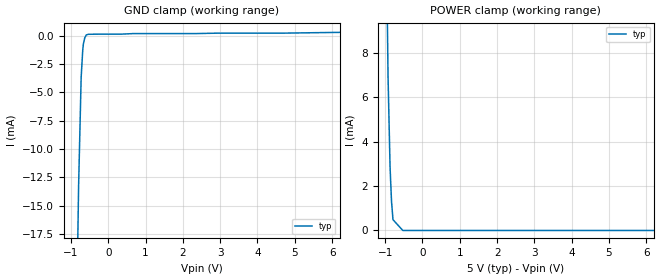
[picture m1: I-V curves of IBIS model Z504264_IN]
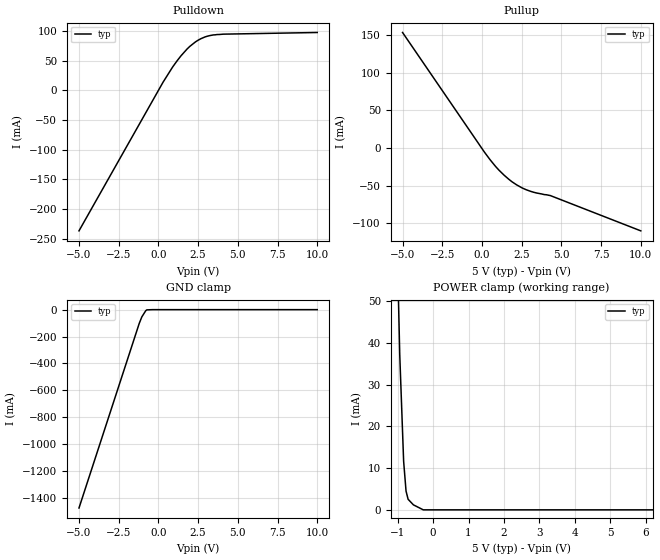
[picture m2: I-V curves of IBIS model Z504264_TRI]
| YOU ARE ONLY AUTHORIZED TO USE THIS SOFTWARE
| ACCORDING TO LICENSOR'S LICENSE RESTRICTIONS.
[IBIS Ver] 3.1
[File Name] mc74hc574adw.ibs
[File Rev] 2.0
[Source] Measured and created by ICX Technology
[Date] Friday 7/14/00 9:08:10 AM
[Copyright]
| (C) COPYRIGHT 1993-2000
| MENTOR GRAPHICS CORPORATION
| ICX STANDARD LIBRARY, ICX PROJECT MODELING,
| ICX CUSTOM MODELING, ICX VENDOR MODEL
| ALL RIGHTS RESERVED.
| THE FOLLOWING ARE TRADEMARKS OR SERVICE MARKS OF
| MENTOR GRAPHICS CORPORATION:ICX (R), ICX STANDARD
| LIBRARY(R), ICX PROJECT MODELING(R), ICX CUSTOM
| MODELING(R), qualityIBIS(TM), MODELVIEWER(TM),
| AND MODELEDITOR(TM)
| ALL COPIES OF SOFTWARE, INCLUDING BUT NOT LIMITED TO
| ANY MODIFICATIONS, ENHANCEMENTS OR DERIVATIVE WORKS,
| MUST CONTAIN ALL MENTOR GRAPHICS CORPORATION'S
| NOTICES AND LEGENDS, INCLUDING THOSE EMBEDDED IN
| SOFTWARE AND THOSE AFFIXED TO SOFTWARE MEDIUM
| AND CONTAINER, AS RECEIVED FROM MENTOR GRAPHICS
| CORPORATION.
|  ZAP Model Builder 2.7
[Component] MC74HC574ADW
[Manufacturer] OnSemiconductor
[Package]
| variable   typ   min   max
R_pkg  .178ohms NA NA
L_pkg  4.43nH NA NA
C_pkg  .62pF NA NA
[Pin] signal_name  model_name  R_pin  L_pin C_pin
1 _EN Z504264_IN .186 5.37n .68p
2 D0 Z504264_IN .182 4.89n .65p
3 D1 Z504264_IN .178 4.42n .62p
4 D2 Z504264_IN .174 3.96n .59p
5 D3 Z504264_IN .17 3.51n .56p
6 D4 Z504264_IN .17 3.51n .56p
7 D5 Z504264_IN .174 3.96n .59p
8 D6 Z504264_IN .178 4.42n .62p
9 D7 Z504264_IN .182 4.89n .65p
10 GROUND GND .186 5.37n .68p
11 CLK Z504264_IN .186 5.37n .68p
12 Q7 Z504264_TRI .182 4.89n .65p
13 Q6 Z504264_TRI .178 4.42n .62p
14 Q5 Z504264_TRI .174 3.96n .59p
15 Q4 Z504264_TRI .17 3.51n .56p
16 Q3 Z504264_TRI .17 3.51n .56p
17 Q2 Z504264_TRI .174 3.96n .59p
18 Q1 Z504264_TRI .178 4.42n .62p
19 Q0 Z504264_TRI .182 4.89n .65p
20 VCC POWER .186 5.37n .68p
| Models and submodels in the file (2): Z504264_IN (Input), Z504264_TRI (3-state)
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| (C) COPYRIGHT 1993-2000
| MENTOR GRAPHICS CORPORATION
| ICX STANDARD LIBRARY, ICX PROJECT MODELING,
| ICX CUSTOM MODELING, ICX VENDOR MODEL
| ALL RIGHTS RESERVED.
| THE FOLLOWING ARE TRADEMARKS OR SERVICE MARKS OF
| MENTOR GRAPHICS CORPORATION:ICX (R), ICX STANDARD
| LIBRARY(R), ICX PROJECT MODELING(R), ICX CUSTOM
| MODELING(R), qualityIBIS(TM), MODELVIEWER(TM),
| AND MODELEDITOR(TM)
| ALL COPIES OF SOFTWARE, INCLUDING BUT NOT LIMITED TO
| ANY MODIFICATIONS, ENHANCEMENTS OR DERIVATIVE WORKS,
| MUST CONTAIN ALL MENTOR GRAPHICS CORPORATION'S
| NOTICES AND LEGENDS, INCLUDING THOSE EMBEDDED IN
| SOFTWARE AND THOSE AFFIXED TO SOFTWARE MEDIUM
| AND CONTAINER, AS RECEIVED FROM MENTOR GRAPHICS
| CORPORATION.
| Model Application Version 1.89 2/18/99.
[Model] Z504264_IN
Model_type Input
Vinl = 1.000V
Vinh = 3.500V
C_comp 4.000pF NA NA
| variable typ   min   max
[Voltage Range] 5.000V NA NA
[GND Clamp Reference] 0.000V NA NA
[POWER Clamp Reference] 5.000V NA NA
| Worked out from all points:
|   GND clamp passes 1 mA (typ) near -0.68 V on its own axis
|   POWER clamp passes 1 mA (typ) near -0.82 V on its own axis
[GND Clamp]
-5V       -1.488A    NA         NA
-1.072V   -72.46mA   NA         NA
-795.6mV  -13.25mA   NA         NA
-727.5mV  -3.697mA   NA         NA
-685.2mV  -1.267mA   NA         NA
-666.1mV  -685.7uA   NA         NA
-627.7mV  -155.4uA   NA         NA
-590.7mV  70.68uA    NA         NA
-532.2mV  133uA      NA         NA
684.9mV   195.2uA    NA         NA
4.658V    231.4uA    NA         NA
10V       477.2uA    NA         NA
[POWER Clamp]
-5V       1.093A     NA         NA
-1.162V   48.76mA    NA         NA
-1.03V    21.76mA    NA         NA
-923mV    6.922mA    NA         NA
-869mV    2.854mA    NA         NA
-830mV    1.318mA    NA         NA
-791mV    488.3uA    NA         NA
-527.3mV  0A         NA         NA
10V       0A         NA         NA
| (C) COPYRIGHT 1993-2000
| MENTOR GRAPHICS CORPORATION
| ICX STANDARD LIBRARY, ICX PROJECT MODELING,
| ICX CUSTOM MODELING, ICX VENDOR MODEL
| ALL RIGHTS RESERVED.
| THE FOLLOWING ARE TRADEMARKS OR SERVICE MARKS OF
| MENTOR GRAPHICS CORPORATION:ICX (R), ICX STANDARD
| LIBRARY(R), ICX PROJECT MODELING(R), ICX CUSTOM
| MODELING(R), qualityIBIS(TM), MODELVIEWER(TM),
| AND MODELEDITOR(TM)
| ALL COPIES OF SOFTWARE, INCLUDING BUT NOT LIMITED TO
| ANY MODIFICATIONS, ENHANCEMENTS OR DERIVATIVE WORKS,
| MUST CONTAIN ALL MENTOR GRAPHICS CORPORATION'S
| NOTICES AND LEGENDS, INCLUDING THOSE EMBEDDED IN
| SOFTWARE AND THOSE AFFIXED TO SOFTWARE MEDIUM
| AND CONTAINER, AS RECEIVED FROM MENTOR GRAPHICS
| CORPORATION.
| Model Application Version 1.89 2/18/99.
[Model] Z504264_TRI
Model_type 3-state
Vref=0.000V
Rref=500.0Mohms
Cref=50.00pF
Vmeas=2.500V
C_comp 8.000pF NA NA
| variable typ   min   max
[Voltage Range] 5.000V NA NA
[POWER Clamp Reference] 5.000V NA NA
[Pullup Reference] 5.000V NA NA
[Pulldown Reference] 0.000V NA NA
[GND Clamp Reference] 0.000V NA NA
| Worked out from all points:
|   slope of the pulldown table from 0 to 0.75 V, typ, clamps not added: 22.6 ohm
|   slope of the pullup table from 0 to 0.75 V, typ, clamps not added: 35.6 ohm
[GND Clamp]
-5V       -1.475A    NA         NA
-1.201V   -100.4mA   NA         NA
-1.04V    -53.33mA   NA         NA
-799.3mV  -8.363mA   NA         NA
-732.4mV  -1.716mA   NA         NA
-366.2mV  0A         NA         NA
10V       0A         NA         NA
[Pulldown]
-5V       -236.6mA   NA         NA
293mV     13.67mA    NA         NA
1.172V    49.5mA     NA         NA
1.982V    74.07mA    NA         NA
2.666V    86.78mA    NA         NA
3.457V    93.25mA    NA         NA
10V       97.35mA    NA         NA
[Pullup]
-5V       153.2mA    NA         NA
157mV     -5.697mA   NA         NA
854mV     -24.59mA   NA         NA
1.675V    -41.44mA   NA         NA
2.187V    -49.17mA   NA         NA
2.778V    -55.53mA   NA         NA
3.432V    -59.9mA    NA         NA
4.306V    -63.35mA   NA         NA
10V       -110.2mA   NA         NA
[POWER Clamp]
-5V       1.894A     NA         NA
-1.084V   88.86mA    NA         NA
-943mV    37.22mA    NA         NA
-833mV    11.62mA    NA         NA
-765mV    4.497mA    NA         NA
-707mV    2.535mA    NA         NA
-557mV    1.196mA    NA         NA
-278.5mV  0A         NA         NA
10V       0A         NA         NA
[Ramp]
| variable typ min max
dV/dt_r 2.825/4.894n NA NA
dV/dt_f 2.825/1.543n NA NA
R_load = 500.0Ohms
